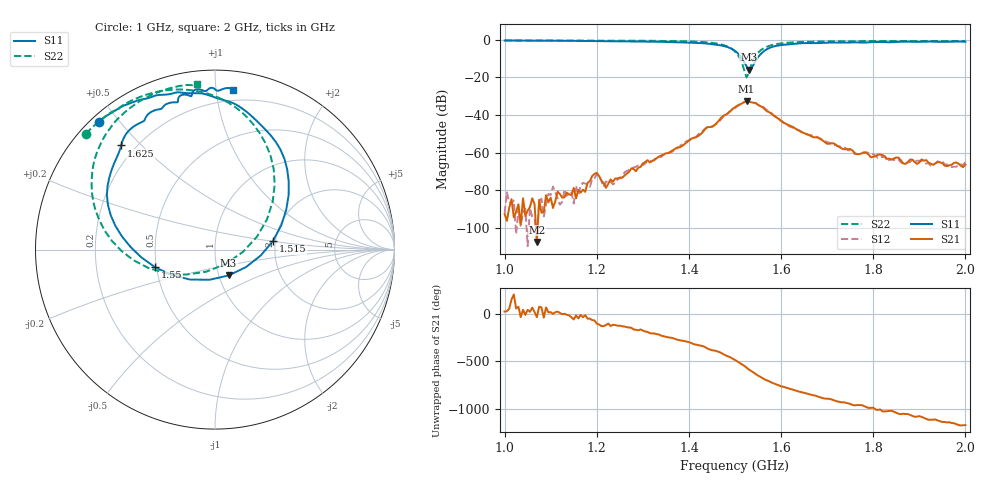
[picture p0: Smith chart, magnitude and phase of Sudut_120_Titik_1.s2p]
# Hz S RI R 50
! CMT, C1220, 16058040, 17.2.0/1
! Date: 14/08/2018 12:55:36
! Data: Format (Calibration Info)
! Freq  S11: Re/Im (F2)  S21: Re/Im (F2)  S12: Re/Im (F2)  S22: Re/Im (F2)
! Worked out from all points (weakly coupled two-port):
!   201 points, 1 GHz to 2 GHz, reference 50 ohm
!   highest |S21| = -32.56 dB at 1.525 GHz (marker M1); lowest = -107.5 dB at 1.07 GHz (marker M2)
!   lowest |S11| = -15.8 dB at 1.53 GHz (marker M3), VSWR 1.39, Z = 55.6 - j16.5 ohm
!   |S11| at or under -10 dB: 1.516 GHz to 1.548 GHz (32.21 MHz wide, 2.1 % of centre)
!   |S22| runs from -20.0 to -0.3 dB; largest |S21 - S12| = 0.00099
!   S11 on the Smith chart (normalised r, x): 1 GHz: 0.02, +0.44; 1.515 GHz: 1.94, +0.20; 1.55 GHz: 0.49, -0.11; 1.625 GHz: 0.15, +0.44; 2 GHz: 0.12, +1.11
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1e9  -0.6461 0.7134  2.04e-05 1.11e-05  1.97e-05 1.54e-05  -0.7191 0.6455
1.07e9  -0.5657 0.7681  3.63e-06 -2.15e-06  -5.04e-06 3.69e-06  -0.6673 0.6957
1.16e9  -0.4675 0.8165  7.32e-05 -7e-05  5.96e-05 -4.38e-05  -0.5874 0.759
1.17e9  -0.4549 0.8218  8.87e-05 -5.32e-05  0.000132 -8.41e-05  -0.5768 0.7654
1.185e9  -0.4321 0.831  0.000123 -0.000126  8.09e-05 -9.12e-05  -0.5597 0.7741
1.2e9  -0.4097 0.836  -4.5e-05 -0.000287  -2.71e-06 -0.000271  -0.543 0.7775
1.215e9  -0.3885 0.8399  -8.97e-05 -0.000126  8.27e-06 -0.000122  -0.5354 0.7856
1.22e9  -0.3804 0.842  -4.69e-05 -0.000106  -3.31e-06 -0.000171  -0.5307 0.7907
1.235e9  -0.3547 0.8498  -6.21e-05 -0.000155  -2.83e-05 -0.000139  -0.5138 0.8039
1.335e9  -0.1752 0.8733  -0.000646 0.000439  -0.000583 0.000538  -0.3599 0.8697
1.45e9  0.2042 0.7436  0.00454 -0.00171  0.00458 -0.00198  0.0457 0.834
1.5e9  0.4103 0.304  -0.00919 -0.0132  -0.00861 -0.0125  0.3325 0.3628
1.515e9  0.3218 0.0462  -0.02 -0.00346  -0.0201 -0.00406  0.2338 0.0716
1.525e9  0.1722 -0.0977  -0.0213 0.01  -0.0216 0.01  0.0617 -0.0791
1.53e9  0.0757 -0.1441  -0.016 0.0161  -0.0162 0.0161  -0.0482 -0.1228
1.55e9  -0.3333 -0.0985  0.00631 0.0175  0.00559 0.0178  -0.4527 -0.06
1.58e9  -0.5964 0.2478  0.0106 -0.000896  0.0109 -0.00135  -0.6781 0.2662
1.625e9  -0.5224 0.5806  0.000837 -0.00479  0.000964 -0.00453  -0.6491 0.5626
1.67e9  -0.4047 0.7117  -0.00193 -0.0017  -0.00203 -0.00186  -0.566 0.7008
1.835e9  -0.1329 0.8542  0.000386 0.000576  0.000423 0.000483  -0.3152 0.8781
1.97e9  0.0531 0.8976  0.000142 -0.000452  5.78e-05 -0.000409  -0.1293 0.9158
2e9  0.1003 0.8914  -3.45e-05 -0.000481  -8.12e-05 -0.000555  -0.0976 0.9221
